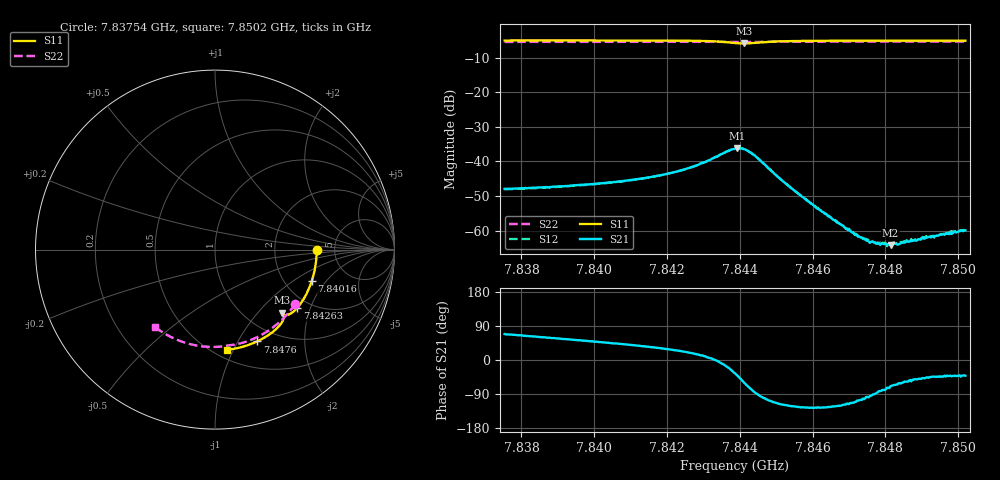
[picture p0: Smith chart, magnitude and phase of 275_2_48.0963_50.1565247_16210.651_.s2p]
#  HZ  S  RI  R  50.00
! Rohde & Schwarz Vector Network Analyzer
! Rohde-Schwarz,ZNB20-2Port,1311601062101988,3.16
! Created: UTC 12/23/2023, 4:02:11 AM
! freq[Hz]  re:S11  im:S11  re:S21  im:S21  re:S12  im:S12  re:S22  im:S22
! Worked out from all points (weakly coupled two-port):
!   401 points, 7.83754 GHz to 7.8502 GHz, reference 50 ohm
!   highest |S21| = -36.11 dB at 7.84393 GHz (marker M1); lowest = -64.2 dB at 7.84814 GHz (marker M2)
!   lowest |S11| = -5.8 dB at 7.84412 GHz (marker M3), VSWR 3.11, Z = 71.4 - j68.1 ohm
!   |S11| at or under -10 dB: nowhere
!   |S22| runs from -5.4 to -5.3 dB; largest |S21 - S12| = 0.00029
!   S11 on the Smith chart (normalised r, x): 7.83754 GHz: 3.61, +0.00; 7.84016 GHz: 2.81, -1.43; 7.84263 GHz: 1.72, -1.63; 7.8476 GHz: 0.81, -1.21; 7.8502 GHz: 0.58, -0.95
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7.837537e9  0.5665 0.000256  0.00147 0.00373  0.00149 0.00366  0.4475 -0.3017
7.839658e9  0.5494 -0.1399  0.00286 0.00358  0.00284 0.00355  0.3492 -0.4127
7.840165e9  0.5399 -0.1727  0.00327 0.00354  0.00319 0.00351  0.3214 -0.4349
7.841779e9  0.4948 -0.274  0.00533 0.00329  0.00528 0.00328  0.2241 -0.4928
7.842634e9  0.4586 -0.3245  0.00772 0.00265  0.00766 0.00267  0.1681 -0.5147
7.843426e9  0.4082 -0.3625  0.0121 -0.00101  0.0122 -0.000961  0.1141 -0.5284
7.843869e9  0.3758 -0.3609  0.0126 -0.00884  0.0124 -0.0087  0.0846 -0.5324
7.843932e9  0.3735 -0.3582  0.0119 -0.0102  0.0117 -0.0102  0.0804 -0.5328
7.844122e9  0.3736 -0.3516  0.00751 -0.0131  0.00778 -0.0129  0.0685 -0.5345
7.844407e9  0.383 -0.3573  0.00111 -0.0123  0.00114 -0.0121  0.0502 -0.5378
7.845104e9  0.373 -0.4052  -0.0025 -0.00506  -0.00249 -0.0051  0.00168 -0.5426
7.84599e9  0.3291 -0.4526  -0.00141 -0.00195  -0.0014 -0.00198  -0.0609 -0.5402
7.846908e9  0.2767 -0.4893  -0.000506 -0.000956  -0.000487 -0.00094  -0.1248 -0.5299
7.847257e9  0.256 -0.5008  -0.000243 -0.000775  -0.000234 -0.00081  -0.1484 -0.524
7.847605e9  0.2348 -0.5114  -5.15e-05 -0.000683  -5.37e-05 -0.0007  -0.172 -0.5169
7.847763e9  0.2252 -0.5158  3.62e-05 -0.000645  3.24e-05 -0.000647  -0.1824 -0.5134
7.848111e9  0.2033 -0.525  0.000175 -0.000626  0.000235 -0.000622  -0.2052 -0.5049
7.848143e9  0.2016 -0.5257  0.000221 -0.000573  0.00018 -0.000624  -0.2075 -0.504
7.848333e9  0.1894 -0.5301  0.000269 -0.000563  0.0003 -0.00056  -0.2196 -0.4989
7.849125e9  0.1388 -0.5456  0.000545 -0.000568  0.000565 -0.000608  -0.2695 -0.4741
7.849283e9  0.1287 -0.5479  0.000598 -0.000583  0.000598 -0.000565  -0.279 -0.4688
7.850201e9  0.0684 -0.5584  0.000754 -0.000667  0.000761 -0.000687  -0.3327 -0.4332
